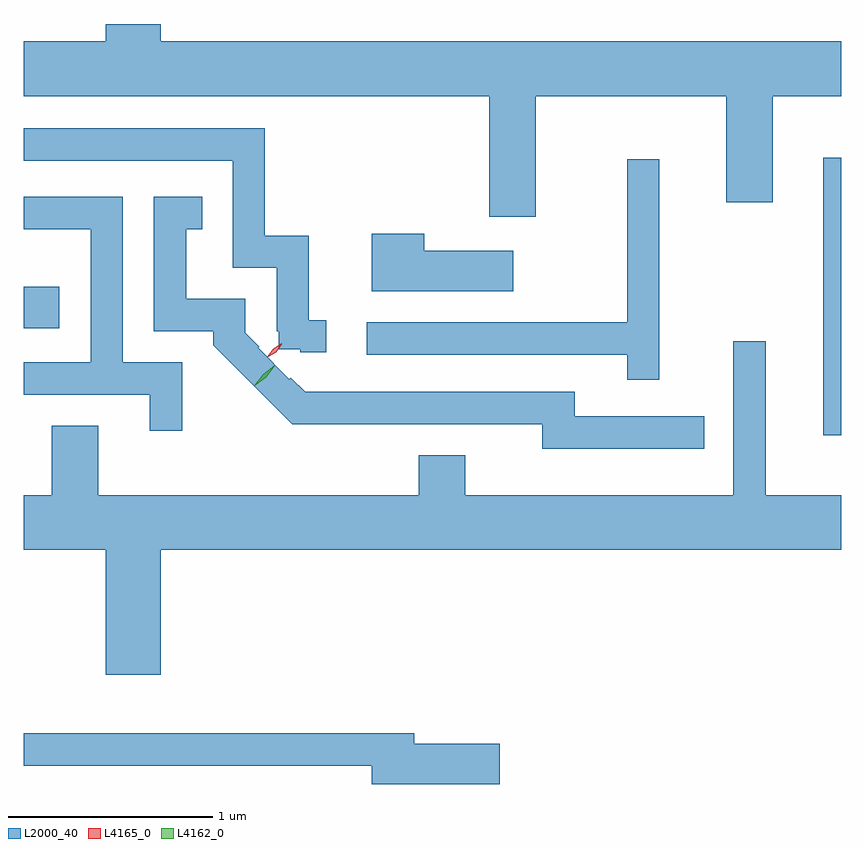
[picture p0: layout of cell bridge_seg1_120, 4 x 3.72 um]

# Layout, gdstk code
import gdstk
lib = gdstk.Library(unit=1e-6, precision=1e-09)
def R(c, l, rs):  # rectangles x0, y0, x1, y1
    for r in rs: c.add(gdstk.rectangle(r[:2], r[2:], *l))
def P(c, l, *ps):  # polygons
    for p in ps: c.add(gdstk.Polygon(p, *l))
L2000_40 = (2000, 40)
L4162_0 = (4162, 0)
L4165_0 = (4165, 0)

bridge_seg1_120 = lib.new_cell('bridge_seg1_120')
R(bridge_seg1_120, L2000_40, [(1417.386,849.076,1417.474,850.434), (1413.474,849.601,1413.649,849.804)])
P(bridge_seg1_120, L2000_40, [(1415.979,850.736),(1416.911,850.736),(1416.911,850.216),(1417.139,850.216),(1417.139,850.736),(1417.474,850.736),(1417.474,851.004),(1414.144,851.004),(1414.144,851.089),(1413.876,851.089),(1413.876,851.004),(1413.474,851.004),(1413.474,850.736),(1415.751,850.736),(1415.751,850.146),(1415.979,850.146)],
  [(1414.953,849.639),(1414.869,849.639),(1414.869,850.054),(1414.654,850.054),(1414.654,850.579),(1413.474,850.579),(1413.474,850.421),(1414.496,850.421),(1414.496,849.896),(1414.711,849.896),(1414.711,849.585),(1414.723,849.585),(1414.723,849.498),(1414.828,849.498),(1414.828,849.482),(1414.953,849.482)],
  [(1416.584,850.428),(1416.426,850.428),(1416.426,849.629),(1415.153,849.629),(1415.153,849.471),(1416.426,849.471),(1416.426,849.348),(1416.584,849.348)],
  [(1414.249,849.434),(1413.959,849.434),(1413.959,850.244),(1413.474,850.244),(1413.474,850.086),(1413.801,850.086),(1413.801,849.434),(1413.474,849.434),(1413.474,849.276),(1414.091,849.276),(1414.091,849.098),(1414.249,849.098)],
  [(1416.803,849.169),(1416.169,849.169),(1416.169,849.289),(1414.851,849.289),(1414.781,849.359),(1414.774,849.352),(1414.622,849.504),(1414.627,849.51),(1414.559,849.578),(1414.559,849.744),(1414.269,849.744),(1414.269,850.086),(1414.348,850.086),(1414.348,850.244),(1414.111,850.244),(1414.111,849.586),(1414.401,849.586),(1414.401,849.518),(1414.788,849.131),(1416.011,849.131),(1416.011,849.011),(1416.803,849.011)],
  [(1415.869,849.979),(1415.434,849.979),(1415.434,850.064),(1415.176,850.064),(1415.176,849.781),(1415.869,849.781)],
  [(1414.144,848.516),(1417.474,848.516),(1417.474,848.784),(1417.104,848.784),(1417.104,849.538),(1416.946,849.538),(1416.946,848.784),(1415.634,848.784),(1415.634,848.979),(1415.406,848.979),(1415.406,848.784),(1413.839,848.784),(1413.839,849.124),(1413.611,849.124),(1413.611,848.784),(1413.474,848.784),(1413.474,848.516),(1413.876,848.516),(1413.876,847.906),(1414.144,847.906)],
  [(1415.804,847.569),(1415.384,847.569),(1415.384,847.619),(1413.474,847.619),(1413.474,847.461),(1415.176,847.461),(1415.176,847.371),(1415.804,847.371)])
P(bridge_seg1_120, L4162_0, [(1414.603,849.319),(1414.603,849.32),(1414.646,849.376),(1414.703,849.419),(1414.704,849.419),(1414.704,849.419),(1414.661,849.362),(1414.604,849.319)])
P(bridge_seg1_120, L4165_0, [(1414.666,849.462),(1414.666,849.462),(1414.695,849.501),(1414.736,849.526),(1414.737,849.526),(1414.737,849.525),(1414.708,849.487),(1414.667,849.462)],
  [(1414.67,849.461),(1414.67,849.462),(1414.697,849.499),(1414.736,849.522),(1414.737,849.522),(1414.737,849.522),(1414.71,849.484),(1414.671,849.461)])

lib.write_gds('bridge_seg1_120.gds')
